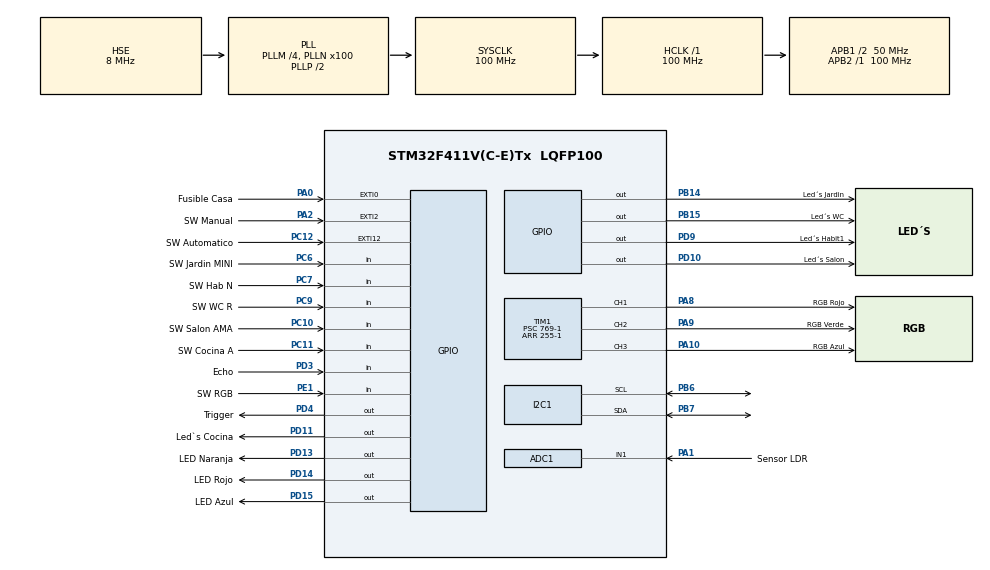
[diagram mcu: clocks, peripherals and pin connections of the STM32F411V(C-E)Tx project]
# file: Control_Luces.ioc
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ADC1.Channel-5\#ChannelRegularConversion=ADC_CHANNEL_1
ADC1.ClockPrescaler=ADC_CLOCK_SYNC_PCLK_DIV8
ADC1.ContinuousConvMode=ENABLE
ADC1.DMAContinuousRequests=ENABLE
ADC1.NbrOfConversionFlag=1
ADC1.Rank-5\#ChannelRegularConversion=1
ADC1.Resolution=ADC_RESOLUTION_12B
ADC1.SamplingTime-5\#ChannelRegularConversion=ADC_SAMPLETIME_3CYCLES
ADC1.master=1
Dma.ADC1.0.Direction=DMA_PERIPH_TO_MEMORY
Dma.ADC1.0.FIFOMode=DMA_FIFOMODE_DISABLE
Dma.ADC1.0.Instance=DMA2_Stream0
Dma.ADC1.0.MemDataAlignment=DMA_MDATAALIGN_WORD
Dma.ADC1.0.MemInc=DMA_MINC_ENABLE
Dma.ADC1.0.Mode=DMA_CIRCULAR
Dma.ADC1.0.PeriphDataAlignment=DMA_PDATAALIGN_WORD
Dma.ADC1.0.PeriphInc=DMA_PINC_DISABLE
Dma.ADC1.0.Priority=DMA_PRIORITY_LOW
Dma.Request0=ADC1
Mcu.Family=STM32F4
Mcu.Name=STM32F411V(C-E)Tx
Mcu.Package=LQFP100
NVIC.ADC_IRQn=true\:0\:0\:false\:false\:true\:true\:true
NVIC.DMA2_Stream0_IRQn=true\:0\:0\:false\:false\:true\:false\:true
NVIC.EXTI0_IRQn=true\:0\:0\:false\:false\:true\:true\:true
NVIC.EXTI15_10_IRQn=true\:0\:0\:false\:false\:true\:true\:true
NVIC.EXTI2_IRQn=true\:0\:0\:false\:false\:true\:true\:true
NVIC.PriorityGroup=NVIC_PRIORITYGROUP_4
PA0-WKUP.GPIO_Label=Fusible Casa
PA0-WKUP.Signal=GPXTI0
PA1.GPIO_Label=Sensor LDR
PA1.Signal=ADCx_IN1
PA10.GPIO_Label=RGB Azul
PA10.Signal=S_TIM1_CH3
PA13.Mode=Serial_Wire
PA13.Signal=SYS_JTMS-SWDIO
PA14.Mode=Serial_Wire
PA14.Signal=SYS_JTCK-SWCLK
PA2.GPIO_Label=SW Manual
PA2.Signal=GPXTI2
PA8.GPIO_Label=RGB Rojo
PA8.Signal=S_TIM1_CH1
PA9.GPIO_Label=RGB Verde
PA9.Signal=S_TIM1_CH2
PB14.GPIO_Label=Led\u00B4s Jardin
PB14.Signal=GPIO_Output
PB15.GPIO_Label=Led\u00B4s WC
PB15.Signal=GPIO_Output
PB6.Mode=I2C
PB6.Signal=I2C1_SCL
PB7.Mode=I2C
PB7.Signal=I2C1_SDA
PC10.GPIO_Label=SW Salon AMA
PC10.GPIO_PuPd=GPIO_PULLDOWN
PC10.Signal=GPIO_Input
PC11.GPIO_Label=SW Cocina A
PC11.GPIO_PuPd=GPIO_PULLDOWN
PC11.Signal=GPIO_Input
PC12.GPIO_Label=SW Automatico
PC12.Signal=GPXTI12
PC6.GPIO_Label=SW Jardin MINI
PC6.GPIO_PuPd=GPIO_PULLDOWN
PC6.Signal=GPIO_Input
PC7.GPIO_Label=SW Hab N
PC7.GPIO_PuPd=GPIO_PULLDOWN
PC7.Signal=GPIO_Input
PC9.GPIO_Label=SW WC R
PC9.Signal=GPIO_Input
PD10.GPIO_Label=Led\u00B4s Salon
PD10.Signal=GPIO_Output
PD11.GPIO_Label=Led`s Cocina
PD11.Signal=GPIO_Output
PD13.GPIO_Label=LED Naranja
PD13.Signal=GPIO_Output
PD14.GPIO_Label=LED Rojo
PD14.Signal=GPIO_Output
PD15.GPIO_Label=LED Azul
PD15.Signal=GPIO_Output
PD3.GPIO_Label=Echo
PD3.Signal=GPIO_Input
PD4.GPIO_Label=Trigger
PD4.Signal=GPIO_Output
PD9.GPIO_Label=Led\u00B4s Habit1
PD9.Signal=GPIO_Output
PE1.GPIO_Label=SW RGB
PE1.GPIO_PuPd=GPIO_PULLDOWN
PE1.Signal=GPIO_Input
PH0\ -\ OSC_IN.Mode=HSE-External-Oscillator
PH0\ -\ OSC_IN.Signal=RCC_OSC_IN
PH1\ -\ OSC_OUT.Mode=HSE-External-Oscillator
PH1\ -\ OSC_OUT.Signal=RCC_OSC_OUT
ProjectManager.HeapSize=0x200
ProjectManager.StackSize=0x400
ProjectManager.TargetToolchain=MDK-ARM V5
RCC.48MHZClocksFreq_Value=50000000
RCC.AHBFreq_Value=100000000
RCC.APB1CLKDivider=RCC_HCLK_DIV2
RCC.APB1Freq_Value=50000000
RCC.APB1TimFreq_Value=100000000
RCC.APB2Freq_Value=100000000
RCC.APB2TimFreq_Value=100000000
RCC.CortexFreq_Value=100000000
RCC.HCLKFreq_Value=100000000
RCC.HSE_VALUE=8000000
RCC.HSI_VALUE=16000000
RCC.LSE_VALUE=32768
RCC.PLLM=4
RCC.PLLN=100
RCC.PLLSourceVirtual=RCC_PLLSOURCE_HSE
RCC.SYSCLKFreq_VALUE=100000000
RCC.SYSCLKSource=RCC_SYSCLKSOURCE_PLLCLK
RCC.VCOOutputFreq_Value=200000000
SH.ADCx_IN1.0=ADC1_IN1,IN1
SH.S_TIM1_CH1.0=TIM1_CH1,PWM Generation1 CH1
SH.S_TIM1_CH2.0=TIM1_CH2,PWM Generation2 CH2
SH.S_TIM1_CH3.0=TIM1_CH3,PWM Generation3 CH3
TIM1.Channel-PWM\ Generation1\ CH1=TIM_CHANNEL_1
TIM1.Channel-PWM\ Generation2\ CH2=TIM_CHANNEL_2
TIM1.Channel-PWM\ Generation3\ CH3=TIM_CHANNEL_3
TIM1.Period=255-1
TIM1.Prescaler=769-1
TIM4.Prescaler=100-1
VP_TIM1_VS_ClockSourceINT.Mode=Internal
VP_TIM4_VS_ClockSourceINT.Mode=Internal
board=custom

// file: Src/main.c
/* USER CODE BEGIN Header */
/**
  ******************************************************************************
  * @file           : main.c
  * @brief          : Main program body
  ******************************************************************************
  * @attention
  *
  * <h2><center>&copy; Copyright (c) 2020 STMicroelectronics.
  * All rights reserved.</center></h2>
  *
  * This software component is licensed by ST under BSD 3-Clause license,
  * the "License"; You may not use this file except in compliance with the
  * License. You may obtain a copy of the License at:
  *                        opensource.org/licenses/BSD-3-Clause
  *
  ******************************************************************************
  */
/* USER CODE END Header */

#include "main.h"

/* USER CODE BEGIN PTD */
#define usTIM	TIM4
/* USER CODE END PTD */

ADC_HandleTypeDef hadc1; //convertidor ad
DMA_HandleTypeDef hdma_adc1;
//I2C_HandleTypeDef hi2c1;

TIM_HandleTypeDef htim1; //pwm
TIM_HandleTypeDef htim4; //sensor ultrasonido

void SystemClock_Config(void);
static void MX_GPIO_Init(void);
static void MX_DMA_Init(void);
static void MX_TIM1_Init(void);
static void MX_ADC1_Init(void);
static void MX_I2C1_Init(void);
static void MX_TIM4_Init(void);
/* USER CODE BEGIN PFP */
void usDelay(uint32_t uSec);
/* USER CODE END PFP */

/* USER CODE BEGIN 0 */

//variable de seleccion del modo de funcionamiento (automatico o manual) excluyentes entre si
int Estado; //-- Estado=1 -->>Modo Manual --
							//-- Estado=2 -->>Modo Automático --

//variables ADC
uint32_t adc_val;
uint32_t buffer;

//variables Sensor hcsr04
const float VelSonido = 0.0343/2;
float distancia;
uint32_t numTicks = 0;
_Bool flag=0;

void espera(unsigned int nCount);

void HAL_ADC_ConvCpltCallback(ADC_HandleTypeDef* hadc){ //funcion ADC para obtener el valor medido
	adc_val=buffer;
}

//Asignacion de colores RGB
void set_rgb(uint8_t red, uint8_t blue, uint8_t green){
	htim1.Instance->CCR1=red;
	htim1.Instance->CCR2=blue;
	htim1.Instance->CCR3=green;
}

void ctrl_rgb(void) { //asignacion de los colores para los pulsos PWM
	if(!HAL_GPIO_ReadPin(GPIOE,GPIO_PIN_1))
		set_rgb(255,255,255);
	else{
		set_rgb(0,255,255);
			HAL_Delay(1000);

			set_rgb(255,0,255);
			HAL_Delay(1000);

			set_rgb(255,255,0);
			HAL_Delay(1000);
	}
	}

	void ctrl_ldr(void){ //control ldr utilizado para detectar presencia en el salon
		HAL_ADC_Start_DMA(&hadc1, &buffer, 1);
		if(adc_val<2700)
			HAL_GPIO_WritePin(GPIOB, GPIO_PIN_14,1);
		else
			HAL_GPIO_WritePin(GPIOB, GPIO_PIN_14,0);
	}

	void ctrl_hcsr04(){ //control del sensor hcsr04 utilizado para encender las luces del salon
		//Poner el trigger a low durante unos pocos uSec
		HAL_GPIO_WritePin(GPIOD, GPIO_PIN_4, GPIO_PIN_RESET);
		usDelay(3);
		//*** Inicio rutina de medicion ***//
		//1. Activacion 10uSec del Trigger
		HAL_GPIO_WritePin(GPIOD, GPIO_PIN_4, GPIO_PIN_SET);
		usDelay(10);
		HAL_GPIO_WritePin(GPIOD, GPIO_PIN_4, GPIO_PIN_RESET);
		//2. Espera del flanco de subida de Echo
		while(HAL_GPIO_ReadPin(GPIOD, GPIO_PIN_3) == GPIO_PIN_RESET);
		//3. Comienzo medida ancho de pulso de Echo uSec
		numTicks = 0;
		while(HAL_GPIO_ReadPin(GPIOD, GPIO_PIN_3) == GPIO_PIN_SET)
		{
			numTicks++;
			usDelay(2); //2.8usec
		};
		//4. Conversion a cm
		distancia = (numTicks + 0.0f)*2.8*VelSonido;

		//*** Rutina para que se encienda el led y se apague tras dejar de detectar y esperar 8sec ***//
		if(distancia<7){
			HAL_GPIO_WritePin(GPIOD, GPIO_PIN_10, 1);
			flag=1;
		}
		else if(flag && distancia>7){
			flag=0;
			HAL_Delay(8000);
			HAL_GPIO_WritePin(GPIOD, GPIO_PIN_10, 0);
		}

		else
			HAL_GPIO_WritePin(GPIOD, GPIO_PIN_10, 0);
	}

		void ctrl_led(GPIO_TypeDef* puertoSW, uint16_t pinSW,GPIO_TypeDef* puertoled, uint16_t pinled){ //toggle de un led cuando se pulsa su interruptor
		if(HAL_GPIO_ReadPin(puertoSW,pinSW))
			HAL_GPIO_TogglePin(puertoled,pinled);
	}
		void off_led(GPIO_TypeDef* puertoled, uint16_t pinled){ //toggle de un led cuando se pulsa su interruptor
			HAL_GPIO_WritePin(puertoled,pinled,0);
		}

	void ctrl_casa(void){ //funcion para hacer el toggle de las distintas habitaciones
		ctrl_led(GPIOC, GPIO_PIN_11,GPIOD, GPIO_PIN_11); //cocina
		ctrl_led(GPIOC, GPIO_PIN_9,GPIOB, GPIO_PIN_15); //wc
		ctrl_led(GPIOC, GPIO_PIN_10,GPIOD, GPIO_PIN_10); //salon
		ctrl_led(GPIOC, GPIO_PIN_7,GPIOD, GPIO_PIN_9); //habitacion
		ctrl_rgb(); //buhardilla
		ctrl_led(GPIOC, GPIO_PIN_6,GPIOB, GPIO_PIN_14); //jardin
	}

	void off_casa(void){ //funcion para hacer el toggle de las distintas habitaciones
		off_led(GPIOD, GPIO_PIN_11); //cocina
		off_led(GPIOB, GPIO_PIN_15); //wc
		off_led(GPIOD, GPIO_PIN_10); //salon
		off_led(GPIOD, GPIO_PIN_9); //habitacion
		off_led(GPIOB, GPIO_PIN_14); //jardin
		set_rgb(255,255,255); //apaga rgb
		HAL_GPIO_WritePin(GPIOD,GPIO_PIN_15,0);
		HAL_GPIO_WritePin(GPIOD,GPIO_PIN_13,0);
		Estado=0;
	}

	void ModeSelect (int estado, GPIO_PinState led_azul, GPIO_PinState led_naranja ){
			Estado=estado;
			HAL_GPIO_WritePin(GPIOD,GPIO_PIN_15,led_azul);
			HAL_GPIO_WritePin(GPIOD,GPIO_PIN_13,led_naranja);
	}

	void HAL_GPIO_EXTI_Callback(uint16_t GPIO_Pin){	//INTERRUPCIONES

	if (GPIO_Pin==GPIO_PIN_0){
		HAL_GPIO_WritePin(GPIOD, GPIO_PIN_14,1); //se enciende el led de la placa rojo para indicar que han saltado los fusibles
		off_casa();
		espera(2000);
		HAL_GPIO_WritePin(GPIOD, GPIO_PIN_14,0);
	}
	if (GPIO_Pin==GPIO_PIN_2){
		ModeSelect(1,1,0); //Seleccion Modo Manual
											//Encendemos el led azul en la placa para indicar que está activo
	}
	if (GPIO_Pin==GPIO_PIN_12){
		ModeSelect(2,0,1); //Seleccion Modo Automatico
											//Encendemos el led naranja que indica estado automatico
	}
}

/* USER CODE END 0 */

int main(void)
{

  /* MCU Configuration--------------------------------------------------------*/

  /* Reset of all peripherals, Initializes the Flash interface and the Systick. */
  HAL_Init();

  /* Configure the system clock */
  SystemClock_Config();

  /* Initialize all configured peripherals */
  MX_GPIO_Init();
  MX_DMA_Init();
  MX_TIM1_Init();
  MX_ADC1_Init();
  MX_I2C1_Init();
  MX_TIM4_Init();
  /* USER CODE BEGIN 2 */
		//inicializacion de los canales PWM
    HAL_TIM_PWM_Start(&htim1,TIM_CHANNEL_1);
		HAL_TIM_PWM_Start(&htim1,TIM_CHANNEL_2);
		HAL_TIM_PWM_Start(&htim1,TIM_CHANNEL_3);
  /* USER CODE END 2 */

  /* Infinite loop */
  while (1)
  {

    /* USER CODE BEGIN 3 */
		//MANUAL MODE (led azul)
		if(Estado)	{
			ctrl_casa();
			ctrl_ldr();
			distancia=0;
		}
			 //AUTOMATIC MODE (led naranja)
		if(Estado==2)	{
			ctrl_casa();
			ctrl_hcsr04();
		}

		//--TESTBENCH--//
		//ctrl_hcsr04();
		//ctrl_casa();

}

  /* USER CODE END 3 */
}

void SystemClock_Config(void)
{
  RCC_OscInitTypeDef RCC_OscInitStruct = {0};
  RCC_ClkInitTypeDef RCC_ClkInitStruct = {0};

  /** Configure the main internal regulator output voltage
  */
  __HAL_RCC_PWR_CLK_ENABLE();
  __HAL_PWR_VOLTAGESCALING_CONFIG(PWR_REGULATOR_VOLTAGE_SCALE1);
  /** Initializes the CPU, AHB and APB busses clocks
  */
  RCC_OscInitStruct.OscillatorType = RCC_OSCILLATORTYPE_HSE;
  RCC_OscInitStruct.HSEState = RCC_HSE_ON;
  RCC_OscInitStruct.PLL.PLLState = RCC_PLL_ON;
  RCC_OscInitStruct.PLL.PLLSource = RCC_PLLSOURCE_HSE;
  RCC_OscInitStruct.PLL.PLLM = 4;
  RCC_OscInitStruct.PLL.PLLN = 100;
  RCC_OscInitStruct.PLL.PLLP = RCC_PLLP_DIV2;
  RCC_OscInitStruct.PLL.PLLQ = 4;
  if (HAL_RCC_OscConfig(&RCC_OscInitStruct) != HAL_OK)
  {
    Error_Handler();
  }
  /** Initializes the CPU, AHB and APB busses clocks
  */
  RCC_ClkInitStruct.ClockType = RCC_CLOCKTYPE_HCLK|RCC_CLOCKTYPE_SYSCLK
                              |RCC_CLOCKTYPE_PCLK1|RCC_CLOCKTYPE_PCLK2;
  RCC_ClkInitStruct.SYSCLKSource = RCC_SYSCLKSOURCE_PLLCLK;
  RCC_ClkInitStruct.AHBCLKDivider = RCC_SYSCLK_DIV1;
  RCC_ClkInitStruct.APB1CLKDivider = RCC_HCLK_DIV2;
  RCC_ClkInitStruct.APB2CLKDivider = RCC_HCLK_DIV1;

  if (HAL_RCC_ClockConfig(&RCC_ClkInitStruct, FLASH_LATENCY_3) != HAL_OK)
  {
    Error_Handler();
  }
}

static void MX_ADC1_Init(void)
{

  ADC_ChannelConfTypeDef sConfig = {0};

  /** Configure the global features of the ADC (Clock, Resolution, Data Alignment and number of conversion)
  */
  hadc1.Instance = ADC1;
  hadc1.Init.ClockPrescaler = ADC_CLOCK_SYNC_PCLK_DIV8;
  hadc1.Init.Resolution = ADC_RESOLUTION_12B;
  hadc1.Init.ScanConvMode = DISABLE;
  hadc1.Init.ContinuousConvMode = ENABLE;
  hadc1.Init.DiscontinuousConvMode = DISABLE;
  hadc1.Init.ExternalTrigConvEdge = ADC_EXTERNALTRIGCONVEDGE_NONE;
  hadc1.Init.ExternalTrigConv = ADC_SOFTWARE_START;
  hadc1.Init.DataAlign = ADC_DATAALIGN_RIGHT;
  hadc1.Init.NbrOfConversion = 1;
  hadc1.Init.DMAContinuousRequests = ENABLE;
  hadc1.Init.EOCSelection = ADC_EOC_SINGLE_CONV;
  if (HAL_ADC_Init(&hadc1) != HAL_OK)
  {
    Error_Handler();
  }
  /** Configure for the selected ADC regular channel its corresponding rank in the sequencer and its sample time.
  */
  sConfig.Channel = ADC_CHANNEL_1;
  sConfig.Rank = 1;
  sConfig.SamplingTime = ADC_SAMPLETIME_3CYCLES;
  if (HAL_ADC_ConfigChannel(&hadc1, &sConfig) != HAL_OK)
  {
    Error_Handler();
  }

}

static void MX_I2C1_Init(void)
{

  hi2c1.Instance = I2C1;
  hi2c1.Init.ClockSpeed = 100000;
  hi2c1.Init.DutyCycle = I2C_DUTYCYCLE_2;
  hi2c1.Init.OwnAddress1 = 0;
  hi2c1.Init.AddressingMode = I2C_ADDRESSINGMODE_7BIT;
  hi2c1.Init.DualAddressMode = I2C_DUALADDRESS_DISABLE;
  hi2c1.Init.OwnAddress2 = 0;
  hi2c1.Init.GeneralCallMode = I2C_GENERALCALL_DISABLE;
  hi2c1.Init.NoStretchMode = I2C_NOSTRETCH_DISABLE;
  if (HAL_I2C_Init(&hi2c1) != HAL_OK)
  {
    Error_Handler();
  }

}

static void MX_TIM1_Init(void)
{

  TIM_ClockConfigTypeDef sClockSourceConfig = {0};
  TIM_MasterConfigTypeDef sMasterConfig = {0};
  TIM_OC_InitTypeDef sConfigOC = {0};
  TIM_BreakDeadTimeConfigTypeDef sBreakDeadTimeConfig = {0};

  htim1.Instance = TIM1;
  htim1.Init.Prescaler = 769-1;
  htim1.Init.CounterMode = TIM_COUNTERMODE_UP;
  htim1.Init.Period = 255-1;
  htim1.Init.ClockDivision = TIM_CLOCKDIVISION_DIV1;
  htim1.Init.RepetitionCounter = 0;
  htim1.Init.AutoReloadPreload = TIM_AUTORELOAD_PRELOAD_DISABLE;
  if (HAL_TIM_Base_Init(&htim1) != HAL_OK)
  {
    Error_Handler();
  }
  sClockSourceConfig.ClockSource = TIM_CLOCKSOURCE_INTERNAL;
  if (HAL_TIM_ConfigClockSource(&htim1, &sClockSourceConfig) != HAL_OK)
  {
    Error_Handler();
  }
  if (HAL_TIM_PWM_Init(&htim1) != HAL_OK)
  {
    Error_Handler();
  }
  sMasterConfig.MasterOutputTrigger = TIM_TRGO_RESET;
  sMasterConfig.MasterSlaveMode = TIM_MASTERSLAVEMODE_DISABLE;
  if (HAL_TIMEx_MasterConfigSynchronization(&htim1, &sMasterConfig) != HAL_OK)
  {
    Error_Handler();
  }
  sConfigOC.OCMode = TIM_OCMODE_PWM1;
  sConfigOC.Pulse = 0;
  sConfigOC.OCPolarity = TIM_OCPOLARITY_HIGH;
  sConfigOC.OCNPolarity = TIM_OCNPOLARITY_HIGH;
  sConfigOC.OCFastMode = TIM_OCFAST_DISABLE;
  sConfigOC.OCIdleState = TIM_OCIDLESTATE_RESET;
  sConfigOC.OCNIdleState = TIM_OCNIDLESTATE_RESET;
  if (HAL_TIM_PWM_ConfigChannel(&htim1, &sConfigOC, TIM_CHANNEL_1) != HAL_OK)
  {
    Error_Handler();
  }
  if (HAL_TIM_PWM_ConfigChannel(&htim1, &sConfigOC, TIM_CHANNEL_2) != HAL_OK)
  {
    Error_Handler();
  }
  if (HAL_TIM_PWM_ConfigChannel(&htim1, &sConfigOC, TIM_CHANNEL_3) != HAL_OK)
  {
    Error_Handler();
  }
  sBreakDeadTimeConfig.OffStateRunMode = TIM_OSSR_DISABLE;
  sBreakDeadTimeConfig.OffStateIDLEMode = TIM_OSSI_DISABLE;
  sBreakDeadTimeConfig.LockLevel = TIM_LOCKLEVEL_OFF;
  sBreakDeadTimeConfig.DeadTime = 0;
  sBreakDeadTimeConfig.BreakState = TIM_BREAK_DISABLE;
  sBreakDeadTimeConfig.BreakPolarity = TIM_BREAKPOLARITY_HIGH;
  sBreakDeadTimeConfig.AutomaticOutput = TIM_AUTOMATICOUTPUT_DISABLE;
  if (HAL_TIMEx_ConfigBreakDeadTime(&htim1, &sBreakDeadTimeConfig) != HAL_OK)
  {
    Error_Handler();
  }
  HAL_TIM_MspPostInit(&htim1);

}

static void MX_TIM4_Init(void)
{

  TIM_ClockConfigTypeDef sClockSourceConfig = {0};
  TIM_MasterConfigTypeDef sMasterConfig = {0};

  htim4.Instance = TIM4;
  htim4.Init.Prescaler = 100-1;
  htim4.Init.CounterMode = TIM_COUNTERMODE_UP;
  htim4.Init.Period = 0;
  htim4.Init.ClockDivision = TIM_CLOCKDIVISION_DIV1;
  htim4.Init.AutoReloadPreload = TIM_AUTORELOAD_PRELOAD_DISABLE;
  if (HAL_TIM_Base_Init(&htim4) != HAL_OK)
  {
    Error_Handler();
  }
  sClockSourceConfig.ClockSource = TIM_CLOCKSOURCE_INTERNAL;
  if (HAL_TIM_ConfigClockSource(&htim4, &sClockSourceConfig) != HAL_OK)
  {
    Error_Handler();
  }
  sMasterConfig.MasterOutputTrigger = TIM_TRGO_RESET;
  sMasterConfig.MasterSlaveMode = TIM_MASTERSLAVEMODE_DISABLE;
  if (HAL_TIMEx_MasterConfigSynchronization(&htim4, &sMasterConfig) != HAL_OK)
  {
    Error_Handler();
  }

}

static void MX_DMA_Init(void)
{

  /* DMA controller clock enable */
  __HAL_RCC_DMA2_CLK_ENABLE();

  /* DMA interrupt init */
  /* DMA2_Stream0_IRQn interrupt configuration */
  HAL_NVIC_SetPriority(DMA2_Stream0_IRQn, 0, 0);
  HAL_NVIC_EnableIRQ(DMA2_Stream0_IRQn);

}

static void MX_GPIO_Init(void)
{
  GPIO_InitTypeDef GPIO_InitStruct = {0};

  /* GPIO Ports Clock Enable */
  __HAL_RCC_GPIOH_CLK_ENABLE();
  __HAL_RCC_GPIOA_CLK_ENABLE();
  __HAL_RCC_GPIOB_CLK_ENABLE();
  __HAL_RCC_GPIOD_CLK_ENABLE();
  __HAL_RCC_GPIOC_CLK_ENABLE();
  __HAL_RCC_GPIOE_CLK_ENABLE();

  /*Configure GPIO pin Output Level */
  HAL_GPIO_WritePin(GPIOB, Led_s_Jardin_Pin|Led_s_WC_Pin, GPIO_PIN_RESET);

  /*Configure GPIO pin Output Level */
  HAL_GPIO_WritePin(GPIOD, Led_s_Habit1_Pin|Led_s_Salon_Pin|Led_s_Cocina_Pin|LED_Naranja_Pin
                          |LED_Rojo_Pin|LED_Azul_Pin|Trigger_Pin, GPIO_PIN_RESET);

  /*Configure GPIO pins : Fusible_Casa_Pin SW_Manual_Pin */
  GPIO_InitStruct.Pin = Fusible_Casa_Pin|SW_Manual_Pin;
  GPIO_InitStruct.Mode = GPIO_MODE_IT_RISING;
  GPIO_InitStruct.Pull = GPIO_NOPULL;
  HAL_GPIO_Init(GPIOA, &GPIO_InitStruct);

  /*Configure GPIO pins : Led_s_Jardin_Pin Led_s_WC_Pin */
  GPIO_InitStruct.Pin = Led_s_Jardin_Pin|Led_s_WC_Pin;
  GPIO_InitStruct.Mode = GPIO_MODE_OUTPUT_PP;
  GPIO_InitStruct.Pull = GPIO_NOPULL;
  GPIO_InitStruct.Speed = GPIO_SPEED_FREQ_LOW;
  HAL_GPIO_Init(GPIOB, &GPIO_InitStruct);

  /*Configure GPIO pins : Led_s_Habit1_Pin Led_s_Salon_Pin Led_s_Cocina_Pin LED_Naranja_Pin
                           LED_Rojo_Pin LED_Azul_Pin Trigger_Pin */
  GPIO_InitStruct.Pin = Led_s_Habit1_Pin|Led_s_Salon_Pin|Led_s_Cocina_Pin|LED_Naranja_Pin
                          |LED_Rojo_Pin|LED_Azul_Pin|Trigger_Pin;
  GPIO_InitStruct.Mode = GPIO_MODE_OUTPUT_PP;
  GPIO_InitStruct.Pull = GPIO_NOPULL;
  GPIO_InitStruct.Speed = GPIO_SPEED_FREQ_LOW;
  HAL_GPIO_Init(GPIOD, &GPIO_InitStruct);

  /*Configure GPIO pins : SW_Jardin_MINI_Pin SW_Hab_N_Pin SW_Salon_AMA_Pin SW_Cocina_A_Pin */
  GPIO_InitStruct.Pin = SW_Jardin_MINI_Pin|SW_Hab_N_Pin|SW_Salon_AMA_Pin|SW_Cocina_A_Pin;
  GPIO_InitStruct.Mode = GPIO_MODE_INPUT;
  GPIO_InitStruct.Pull = GPIO_PULLDOWN;
  HAL_GPIO_Init(GPIOC, &GPIO_InitStruct);

  /*Configure GPIO pin : SW_WC_R_Pin */
  GPIO_InitStruct.Pin = SW_WC_R_Pin;
  GPIO_InitStruct.Mode = GPIO_MODE_INPUT;
  GPIO_InitStruct.Pull = GPIO_NOPULL;
  HAL_GPIO_Init(SW_WC_R_GPIO_Port, &GPIO_InitStruct);

  /*Configure GPIO pin : SW_Automatico_Pin */
  GPIO_InitStruct.Pin = SW_Automatico_Pin;
  GPIO_InitStruct.Mode = GPIO_MODE_IT_RISING;
  GPIO_InitStruct.Pull = GPIO_NOPULL;
  HAL_GPIO_Init(SW_Automatico_GPIO_Port, &GPIO_InitStruct);

  /*Configure GPIO pin : Echo_Pin */
  GPIO_InitStruct.Pin = Echo_Pin;
  GPIO_InitStruct.Mode = GPIO_MODE_INPUT;
  GPIO_InitStruct.Pull = GPIO_NOPULL;
  HAL_GPIO_Init(Echo_GPIO_Port, &GPIO_InitStruct);

  /*Configure GPIO pin : SW_RGB_Pin */
  GPIO_InitStruct.Pin = SW_RGB_Pin;
  GPIO_InitStruct.Mode = GPIO_MODE_INPUT;
  GPIO_InitStruct.Pull = GPIO_PULLDOWN;
  HAL_GPIO_Init(SW_RGB_GPIO_Port, &GPIO_InitStruct);

  /* EXTI interrupt init*/
  HAL_NVIC_SetPriority(EXTI0_IRQn, 0, 0);
  HAL_NVIC_EnableIRQ(EXTI0_IRQn);

  HAL_NVIC_SetPriority(EXTI2_IRQn, 0, 0);
  HAL_NVIC_EnableIRQ(EXTI2_IRQn);

  HAL_NVIC_SetPriority(EXTI15_10_IRQn, 0, 0);
  HAL_NVIC_EnableIRQ(EXTI15_10_IRQn);

}

/* USER CODE BEGIN 4 */
void usDelay(uint32_t uSec){ //funcion para la espera en uSec del sensor hsrc04
	if(uSec < 2) uSec = 2;
	usTIM->ARR = uSec - 1; 	/*añadir valores al registro*/
	usTIM->EGR = 1; 			/*Reinicializar el contador*/
	usTIM->SR &= ~1; 		//RESET del flag
	usTIM->CR1 |= 1; 		//Habilitar contador
	while((usTIM->SR&0x0001) != 1);
	usTIM->SR &= ~(0x0001);
}

void espera(unsigned int nCount){
	unsigned int i,j;
	for(i=0;i<nCount;i++)
		for(j=0;j<0x2AFF;j++);
}

/* USER CODE END 4 */

void Error_Handler(void)
{
}

/************************ (C) COPYRIGHT STMicroelectronics *****END OF FILE****/
